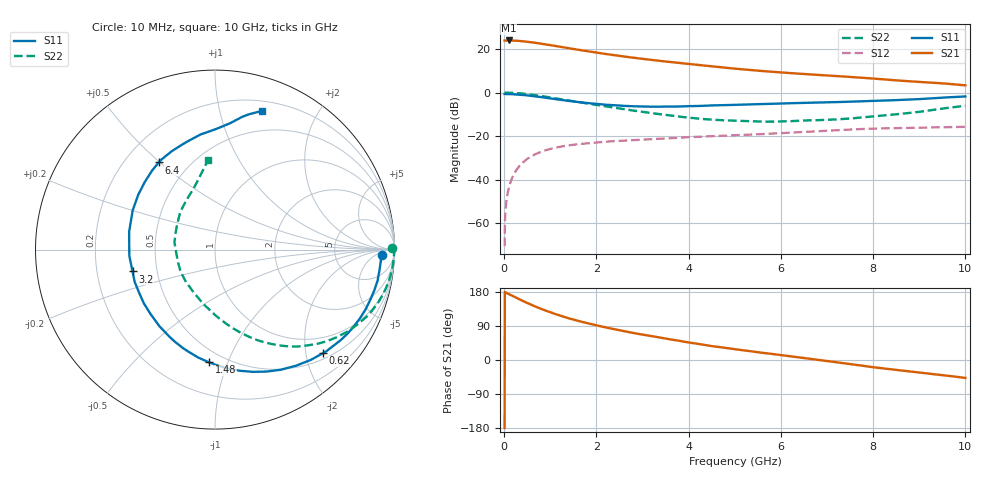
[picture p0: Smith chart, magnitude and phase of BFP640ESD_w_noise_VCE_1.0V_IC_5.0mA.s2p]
! Infineon Technologies  Discrete & RF Semiconductors
! BFP640ESD
! VCE =  1.0 V,  IC =  5.0 mA
! Common Emitter S-Parameters:  Jan 2016
# GHz  S  MA  R  50
!  f  S11  S21  S12  S22
! GHz  MAG  ANG  MAG  ANG  MAG  ANG  MAG  ANG
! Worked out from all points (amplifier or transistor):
!   233 points, 10 MHz to 10 GHz, reference 50 ohm
!   highest |S21| = 23.9 dB at 100 MHz (marker M1)
!   |S21| within 3 dB of that: start of sweep to 1.246 GHz
!   unconditionally stable (mu >= 1): 4.723 GHz to 9.325 GHz
!   at 200 MHz: K = 0.05, MSG = 30.9 dB, |S12| = -37.9 dB
!   at 1.74 GHz: K = 0.47, MSG = 21.3 dB, |S12| = -23.4 dB
!   at 10 GHz: K = 0.88, MSG = 9.5 dB, |S12| = -15.7 dB
!   lowest NFmin = 0.58 dB at 450 MHz
!   S11 on the Smith chart (normalised r, x): 10 MHz: 23, -10; 620 MHz: 0.62, -2.35; 1.48 GHz: 0.41, -0.86; 3.2 GHz: 0.36, -0.11; 6.4 GHz: 0.34, +0.50; 10 GHz: 0.29, +1.35
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0.01  0.9293 -1.8  15.63 -179.8  0.0003 138.5  0.9875 0.5
0.02  0.9265 -1.7  15.61 179.5  0.0013 88.4  0.9989 -0.9
0.03  0.9263 -2.4  15.61 178.6  0.002 86.5  0.9982 -1.5
0.1  0.9235 -7.2  15.71 174.2  0.0065 85.4  0.9948 -4.9
0.34  0.8953 -24.7  15.27 159.7  0.0212 75.4  0.9619 -16.5
0.46  0.8719 -33.0  14.84 152.7  0.0279 70.7  0.9344 -22.0
0.62  0.8337 -43.8  14.14 143.9  0.0359 64.6  0.8891 -28.7
0.8  0.7888 -55.1  13.26 135.0  0.0439 58.7  0.8352 -35.8
1  0.7373 -67.2  12.29 125.9  0.0511 53.0  0.7725 -42.9
1.2  0.6888 -78.5  11.34 117.5  0.057 48.1  0.713 -49.2
1.48  0.6292 -92.9  10.09 107.5  0.0633 42.6  0.6363 -56.7
1.68  0.594 -102.7  9.336 100.8  0.0669 39.4  0.589 -61.5
2  0.5501 -116.9  8.259 91.5  0.072 35.4  0.5233 -68.5
2.38  0.5107 -133.4  7.236 81.4  0.077 31.4  0.4528 -76.7
3.2  0.4753 -165.2  5.614 63.0  0.0858 25.4  0.3383 -94.8
3.4  0.4757 -172.3  5.31 58.7  0.0879 24.2  0.3176 -99.8
4  0.4886 168.2  4.553 46.2  0.0948 20.9  0.2664 -116.6
5.1  0.5281 142.8  3.466 26.9  0.1061 15.0  0.2242 -150.4
6.4  0.578 122.8  2.714 6.8  0.1235 8.5  0.2261 172.3
6.8  0.5912 116.7  2.547 0.5  0.1302 6.0  0.233 162.9
8.4  0.666 90.9  1.942 -24.8  0.152 -8.2  0.3103 122.5
10  0.8159 71.3  1.466 -47.4  0.164 -21.1  0.4989 94.5
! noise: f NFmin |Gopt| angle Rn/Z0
0.45  0.58  0.41  10  0.14
0.9  0.6  0.39  22  0.13
1.9  0.67  0.31  47  0.12
2.4  0.72  0.27  62  0.11
5.5  1.09  0.34  -144  0.08
10  2.11  0.63  -83  0.89
